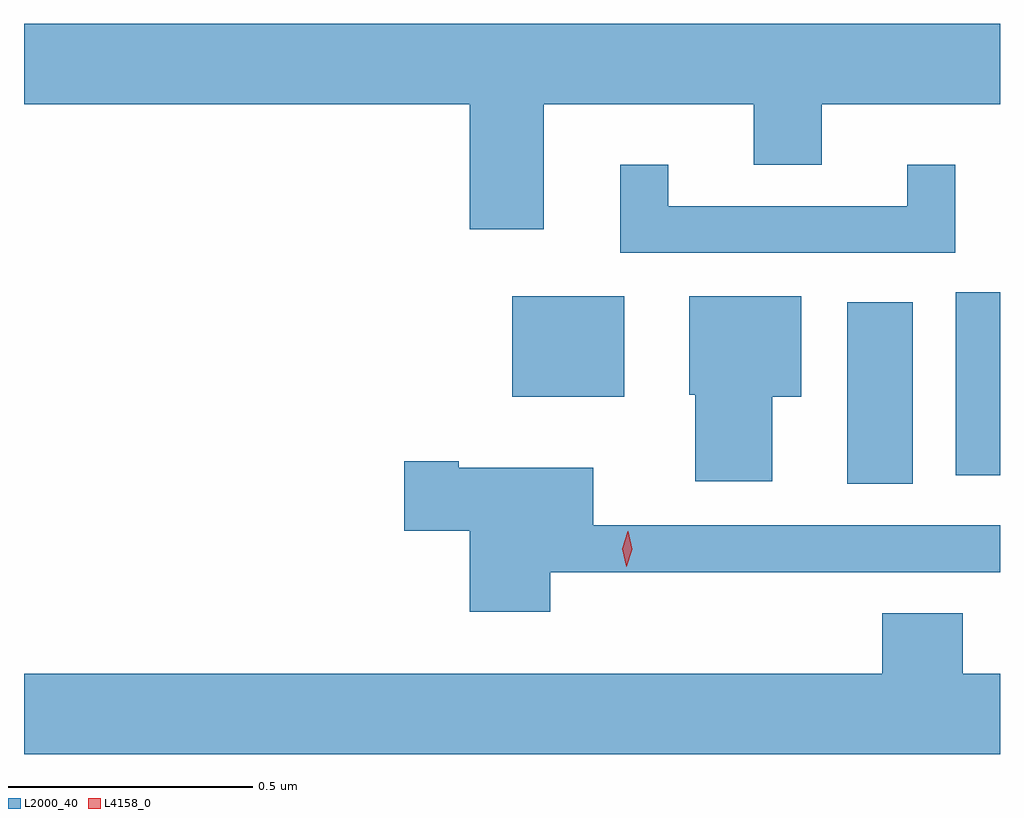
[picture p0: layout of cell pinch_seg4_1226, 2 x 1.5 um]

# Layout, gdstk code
import gdstk
lib = gdstk.Library(unit=1e-6, precision=1e-09)
def R(c, l, rs):  # rectangles x0, y0, x1, y1
    for r in rs: c.add(gdstk.rectangle(r[:2], r[2:], *l))
def P(c, l, *ps):  # polygons
    for p in ps: c.add(gdstk.Polygon(p, *l))
L2000_40 = (2000, 40)
L4158_0 = (4158, 0)

pinch_seg4_1226 = lib.new_cell('pinch_seg4_1226')
R(pinch_seg4_1226, L2000_40, [(635.996,762.742,636.13,763.114), (636.218,762.759,636.309,763.134), (635.309,762.92,635.539,763.126)])
P(pinch_seg4_1226, L2000_40, [(635.374,763.52),(635.804,763.52),(635.804,763.396),(635.944,763.396),(635.944,763.52),(636.309,763.52),(636.309,763.684),(634.309,763.684),(634.309,763.52),(635.222,763.52),(635.222,763.263),(635.374,763.263)],
  [(636.217,763.396),(636.119,763.396),(636.119,763.311),(635.629,763.311),(635.629,763.396),(635.531,763.396),(635.531,763.215),(636.217,763.215)],
  [(635.842,762.92),(635.902,762.92),(635.902,763.126),(635.672,763.126),(635.672,762.924),(635.684,762.924),(635.684,762.747),(635.842,762.747)],
  [(635.387,762.56),(635.984,762.56),(635.984,762.561),(636.309,762.561),(636.309,762.657),(635.476,762.657),(635.476,762.775),(635.2,762.775),(635.2,762.788),(635.088,762.788),(635.088,762.646),(635.222,762.646),(635.222,762.48),(635.387,762.48)],
  [(636.309,762.352),(636.233,762.352),(636.233,762.476),(636.068,762.476),(636.068,762.352),(634.309,762.352),(634.309,762.188),(636.309,762.188)])
P(pinch_seg4_1226, L4158_0, [(635.543,762.572),(635.543,762.573),(635.535,762.609),(635.546,762.644),(635.547,762.644),(635.547,762.644),(635.555,762.608),(635.544,762.573)])

lib.write_gds('pinch_seg4_1226.gds')
